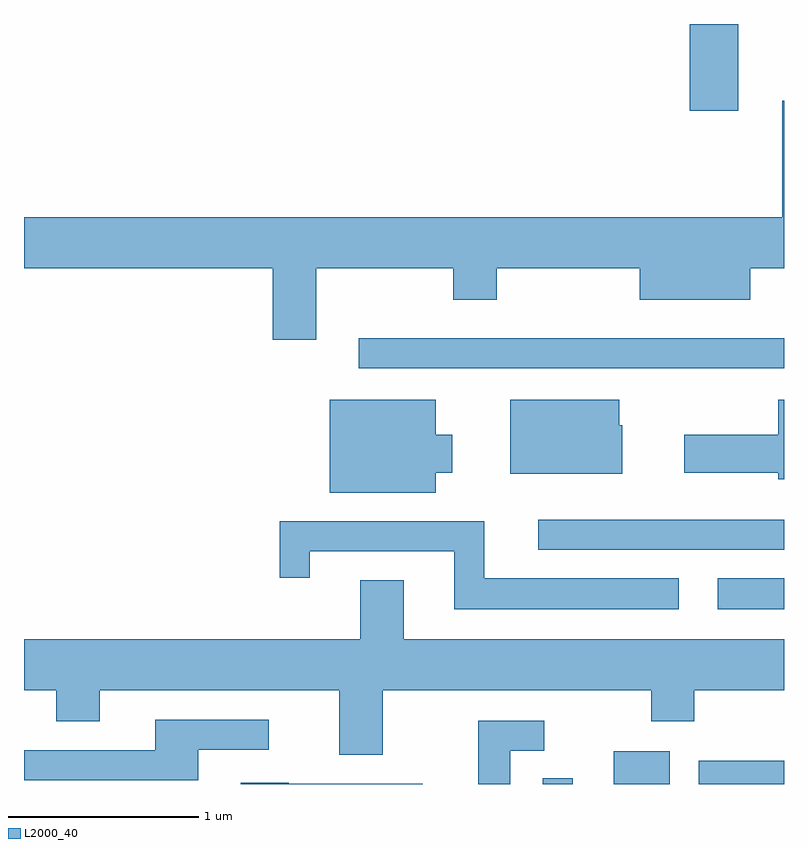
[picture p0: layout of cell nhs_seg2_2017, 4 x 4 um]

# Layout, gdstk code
import gdstk
lib = gdstk.Library(unit=1e-6, precision=1e-09)
def R(c, l, rs):  # rectangles x0, y0, x1, y1
    for r in rs: c.add(gdstk.rectangle(r[:2], r[2:], *l))
def P(c, l, *ps):  # polygons
    for p in ps: c.add(gdstk.Polygon(p, *l))
L2000_40 = (2000, 40)

nhs_seg2_2017 = lib.new_cell('nhs_seg2_2017')
R(nhs_seg2_2017, L2000_40, [(246.341,1067.802,246.499,1067.833), (246.716,1067.802,247.009,1067.974), (247.161,1067.802,247.611,1067.924), (247.263,1068.721,247.611,1068.884), (246.318,1069.036,247.611,1069.194), (245.373,1069.991,247.611,1070.149), (247.116,1071.346,247.369,1071.802)])
P(nhs_seg2_2017, L2000_40, [(245.149,1070.516),(245.871,1070.516),(245.871,1070.351),(246.099,1070.351),(246.099,1070.516),(246.851,1070.516),(246.851,1070.351),(247.434,1070.351),(247.434,1070.516),(247.611,1070.516),(247.611,1071.399),(247.601,1071.399),(247.601,1070.784),(243.611,1070.784),(243.611,1070.516),(244.921,1070.516),(244.921,1070.141),(245.149,1070.141)],
  [(246.759,1069.69),(246.744,1069.69),(246.744,1069.824),(246.171,1069.824),(246.171,1069.436),(246.759,1069.436)],
  [(245.779,1069.441),(245.864,1069.441),(245.864,1069.639),(245.779,1069.639),(245.779,1069.824),(245.221,1069.824),(245.221,1069.336),(245.779,1069.336)],
  [(247.611,1069.824),(247.581,1069.824),(247.581,1069.639),(247.086,1069.639),(247.086,1069.441),(247.581,1069.441),(247.581,1069.406),(247.611,1069.406)],
  [(247.058,1068.884),(246.034,1068.884),(246.034,1069.184),(244.956,1069.184),(244.956,1068.888),(245.114,1068.888),(245.114,1069.026),(245.876,1069.026),(245.876,1068.721),(247.058,1068.721)],
  [(245.499,1068.296),(246.911,1068.296),(246.911,1068.131),(247.139,1068.131),(247.139,1068.296),(247.611,1068.296),(247.611,1068.564),(245.609,1068.564),(245.609,1068.874),(245.381,1068.874),(245.381,1068.564),(243.611,1068.564),(243.611,1068.296),(243.781,1068.296),(243.781,1068.131),(244.009,1068.131),(244.009,1068.296),(245.271,1068.296),(245.271,1067.956),(245.499,1067.956)],
  [(244.529,1067.981),(244.898,1067.981),(244.898,1068.139),(244.301,1068.139),(244.301,1067.979),(243.611,1067.979),(243.611,1067.821),(244.529,1067.821)],
  [(246.169,1067.976),(246.348,1067.976),(246.348,1068.134),(246.001,1068.134),(246.001,1067.802),(246.169,1067.802)],
  [(245.709,1067.804),(245.005,1067.804),(245.005,1067.809),(244.751,1067.809),(244.751,1067.802),(245.709,1067.802)])

lib.write_gds('nhs_seg2_2017.gds')
